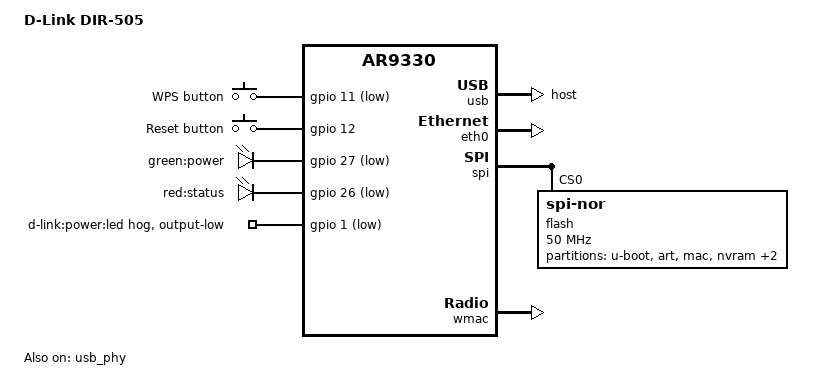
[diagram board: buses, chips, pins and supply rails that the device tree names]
// SPDX-License-Identifier: GPL-2.0-or-later OR MIT

#include "ar9330.dtsi"

#include <dt-bindings/gpio/gpio.h>
#include <dt-bindings/input/input.h>

/ {
	model = "D-Link DIR-505";
	compatible = "dlink,dir-505", "qca,ar9330";

	aliases {
		led-boot = &led_power_green;
		led-failsafe = &led_status_red;
		led-running = &led_power_green;
		led-upgrade = &led_status_red;
	};

	keys {
		compatible = "gpio-keys";

		wps {
			label = "WPS button";
			gpios = <&gpio 11 GPIO_ACTIVE_LOW>;
			linux,code = <KEY_WPS_BUTTON>;
		};

		reset {
			label = "Reset button";
			gpios = <&gpio 12 GPIO_ACTIVE_HIGH>;
			linux,code = <KEY_RESTART>;
		};
	};

	leds {
		compatible = "gpio-leds";
		pinctrl-names = "default";
		pinctrl-0 = <&jtag_disable_pins>;

		led_power_green: power {
			label = "green:power";
			gpios = <&gpio 27 GPIO_ACTIVE_LOW>;
		};

		led_status_red: status {
			label = "red:status";
			gpios = <&gpio 26 GPIO_ACTIVE_LOW>;
		};
	};
};

&gpio {
	led_enable {
		gpio-hog;
		output-low;
		gpios = <1 GPIO_ACTIVE_LOW>;
		line-name = "d-link:power:led";
	};
};

&usb {
	dr_mode = "host";
	status = "okay";
};

&usb_phy {
	status = "okay";
};

&eth0 {
	status = "okay";

	gmac-config {
		device = <&gmac>;
		switch-phy-addr-swap = <0>;
		switch-phy-swap = <0>;
	};
};

&eth1 {
	compatible = "syscon", "simple-mfd";
	status = "okay";
};

&spi {
	status = "okay";

	flash@0 {
		compatible = "jedec,spi-nor";
		spi-max-frequency = <50000000>;
		reg = <0>;

		partitions {
			compatible = "fixed-partitions";
			#address-cells = <1>;
			#size-cells = <1>;

			partition@0 {
				label = "u-boot";
				reg = <0x0 0x10000>;
				read-only;
			};

			art: partition@10000 {
				label = "art";
				reg = <0x10000 0x10000>;
				read-only;
			};

			mac: partition@20000 {
				label = "mac";
				reg = <0x20000 0x10000>;
				read-only;
			};

			partition@30000 {
				label = "nvram";
				reg = <0x30000 0x10000>;
				read-only;
			};

			partition@40000 {
				label = "language";
				reg = <0x40000 0x40000>;
				read-only;
			};

			partition@80000 {
				compatible = "denx,uimage";
				label = "firmware";
				reg = <0x80000 0x780000>;
			};
		};
	};
};

&wmac {
	status = "okay";
	qca,no-eeprom;
};
